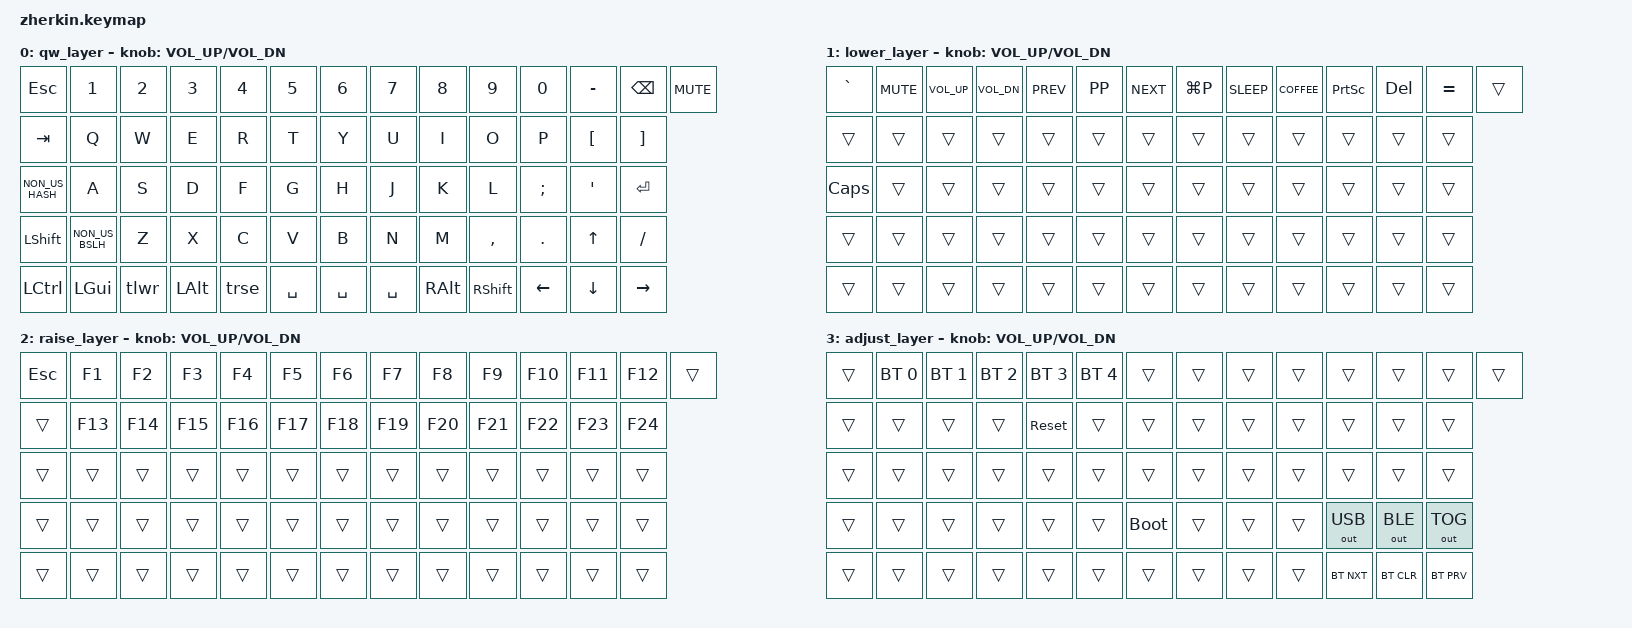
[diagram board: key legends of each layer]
/*
 * Copyright (c) 2022-2024 The ZMK Contributors
 *
 * SPDX-License-Identifier: MIT
 */
 
#include <behaviors.dtsi>
#include <dt-bindings/zmk/keys.h>
#include <dt-bindings/zmk/outputs.h>
#include <dt-bindings/zmk/bt.h>
#include <dt-bindings/zmk/rgb.h>

/ {
	chosen {
		zmk,underglow = &led_strip;
	};
};

/*
#include <dt-bindings/zmk/ext_power.h>
*/
#define  QW 0
#define LWR 1
#define RSE 2
#define ADJ 3

/ {

    conditional_layers {
        compatible = "zmk,conditional-layers";
        tri_layer {
            if-layers = <LWR RSE>;
            then-layer = <ADJ>;
        };
    };

    behaviors {
        tlwr: tlwr {
            compatible = "zmk,behavior-tap-dance";
            #binding-cells = <0>;
            tapping-term-ms = <200>;
            bindings = <&mo LWR>, <&tog LWR>, <&trans>;
        };

        trse: trse {
            compatible = "zmk,behavior-tap-dance";
            #binding-cells = <0>;
            tapping-term-ms = <200>;
            bindings = <&mo RSE>, <&tog RSE>, <&trans>;
        };
    };

    keymap {
        compatible = "zmk,keymap";

/*
┌────┬────┬────┬────┬────┬────┬────┬────┬────┬────┬────┬────┬────┬────┐
│ ⎋  │ 1  │ 2  │ 3  │ 4  │ 5  │ 6  │ 7  │ 8  │ 9  │ 0  │ -  │ ⌫  │ 🕨  │
├────┼────┼────┼────┼────┼────┼────┼────┼────┼────┼────┼────┼────┼────┘
│ ↹  │ q  │ w  │ e  │ r  │ t  │ y  │ u  │ i  │ o  │ p  │ [  │ ]  │
├────┼────┼────┼────┼────┼────┼────┼────┼────┼────┼────┼────┼────┤
│ #  │ a  │ s  │ d  │ f  │ g  │ h  │ j  │ k  │ l  │ ;  │ '  │ ⏎  │
├────┼────┼────┼────┼────┼────┼────┼────┼────┼────┼────┼────┼────┤
│ ⇧( │ \  │ z  │ x  │ c  │ v  │ b  │ n  │ m  │ ,  │ .  │ ↑  │ /  │
├────┼────┼────┼────┼────┼────┼────┼────┼────┼────┼────┼────┼────┤
│ ⎈  │   │ ⇓  │ ⎇  │ ⇑  │    │    │    │ ⎇  │ ⇧) │ ←  │ ↓  │ →  │
└────┴────┴────┴────┴────┴────┴────┴────┴────┴────┴────┴────┴────┘
*/
        qw_layer {
            bindings = <
                &kp ESC          &kp N1          &kp N2 &kp N3   &kp N4 &kp N5    &kp N6    &kp N7    &kp N8   &kp N9    &kp N0   &kp MINUS &kp BSPC &kp K_MUTE
                &kp TAB          &kp Q           &kp W  &kp E    &kp R  &kp T     &kp Y     &kp U     &kp I    &kp O     &kp P    &kp LBKT  &kp RBKT
                &kp NON_US_HASH  &kp A           &kp S  &kp D    &kp F  &kp G     &kp H     &kp J     &kp K    &kp L     &kp SEMI &kp APOS  &kp RET
                &kp LSHFT        &kp NON_US_BSLH &kp Z  &kp X    &kp C  &kp V     &kp B     &kp N     &kp M    &kp COMMA &kp DOT  &kp UP    &kp FSLH   
                &kp LCTRL        &kp LGUI        &tlwr  &kp LALT &trse  &kp SPACE &kp SPACE &kp SPACE &kp RALT &kp RSHFT &kp LEFT &kp DOWN  &kp RIGHT 
            >;
      sensor-bindings = <&inc_dec_kp C_VOL_UP C_VOL_DN>;
        };
        lower_layer {
            bindings = <
                &kp GRAVE &kp K_MUTE &kp K_VOL_UP &kp K_VOL_DN &kp K_PREV &kp K_PP &kp K_NEXT &kp LG(P)   &kp K_SLEEP &kp K_COFFEE &kp PSCRN &kp DEL &kp EQUAL &trans
                &trans    &trans     &trans       &trans       &trans     &trans   &trans     &trans      &trans      &trans       &trans    &trans  &trans
                &kp CAPS  &trans     &trans       &trans       &trans     &trans   &trans     &trans      &trans      &trans       &trans    &trans  &trans
                &trans    &trans     &trans       &trans       &trans     &trans   &trans     &trans      &trans      &trans       &trans    &trans  &trans
                &trans    &trans     &trans       &trans       &trans     &trans   &trans     &trans      &trans      &trans       &trans    &trans  &trans
            >;
      sensor-bindings = <&inc_dec_kp C_VOL_UP C_VOL_DN>;
        };
        raise_layer {
            bindings = <
                &kp ESC  &kp F1  &kp F2  &kp F3  &kp F4  &kp F5  &kp F6  &kp F7  &kp F8  &kp F9  &kp F10 &kp F11 &kp F12 &trans
                &trans   &kp F13 &kp F14 &kp F15 &kp F16 &kp F17 &kp F18 &kp F19 &kp F20 &kp F21 &kp F22 &kp F23 &kp F24
                &trans   &trans  &trans  &trans  &trans  &trans  &trans  &trans  &trans  &trans  &trans  &trans  &trans
                &trans   &trans  &trans  &trans  &trans  &trans  &trans  &trans  &trans  &trans  &trans  &trans  &trans
                &trans   &trans  &trans  &trans  &trans  &trans  &trans  &trans  &trans  &trans  &trans  &trans  &trans
            >; 
      sensor-bindings = <&inc_dec_kp C_VOL_UP C_VOL_DN>;
        };

/*
adj layer
 * ┌───┬────┬───┬───┬───┬───┬────┬───┬───┬───┬───┬────┬────┐
 * │TOG│bt0 │bt1│bt2│bt3│bt4│    │   │   │   │   │ SPI│ SPD│
 * ├───┼────┼───┼───┼───┼───┼────┼───┼───┼───┼───┼────┼────┤
 * │HUI│HUD │   │   │rst│   │    │   │   │   │   │ EFF│ EFR│
 * ├───┼────┼───┼───┼───┼───┼────┼───┼───┼───┼───┼────┼────┤
 * │SAI│SAD │   │   │   │   │    │   │   │   │   │    │    │
 * ├───┼────┼───┼───┼───┼───┼────┼───┼───┼───┼───┼────┼────┤
 * │BRI│BRD │   │   │   │   │boot│   │   │   │   │bt  │    │
 * ├───┼────┼───┼───┼───┼───┼────┼───┼───┼───┼───┼────┼────┤
 * │ ON│OFF │   │   │   │   │    │   │   │USB│btN│btC │ btP│
 * └───┴────┴───┴───┴───┴───┴────┴───┴───┴───┴───┴────┴────┘
*/

        adjust_layer {
            bindings = <
                &trans  &bt BT_SEL 0    &bt BT_SEL 1 &bt BT_SEL 2 &bt BT_SEL 3 &bt BT_SEL 4 &trans      &trans &trans &trans &trans       &trans       &trans &trans
                &trans  &trans          &trans       &trans       &sys_reset   &trans       &trans      &trans &trans &trans &trans       &trans       &trans
                &trans  &trans          &trans       &trans       &trans       &trans       &trans      &trans &trans &trans &trans       &trans       &trans
                &trans  &trans          &trans       &trans       &trans       &trans       &bootloader &trans &trans &trans &out OUT_USB &out OUT_BLE &out OUT_TOG 
                &trans  &trans          &trans       &trans       &trans       &trans       &trans      &trans &trans &trans &bt BT_NXT   &bt BT_CLR   &bt BT_PRV   
            >;
      sensor-bindings = <&inc_dec_kp C_VOL_UP C_VOL_DN>;
        };

    };
};
